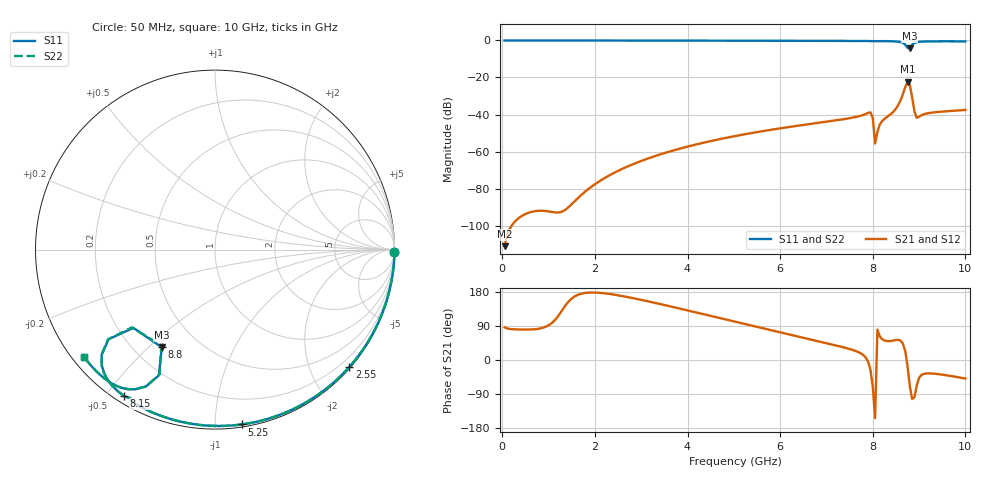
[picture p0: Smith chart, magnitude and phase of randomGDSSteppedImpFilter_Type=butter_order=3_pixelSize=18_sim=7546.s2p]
! freq	dB(S11)	phase(S11)	dB(S12)	phase(S12)
!  dB(S21)	phase(S21)	dB(S22)	phase(S22)
!S-par simulation data
#  GHz  S  DB  R 50
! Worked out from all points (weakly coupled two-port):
!   200 points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, 50 MHz to 10 GHz, reference 50 ohm
!   highest |S21| = -22.34 dB at 8.75 GHz (marker M1); lowest = -111.1 dB at 50 MHz (marker M2)
!   lowest |S11| = -4.2 dB at 8.8 GHz (marker M3), VSWR 4.26, Z = 15.6 - j27.5 ohm
!   |S11| at or under -10 dB: nowhere
!   |S22| runs from -4.3 to 0.0 dB; largest |S21 - S12| = 0
!   S11 on the Smith chart (normalised r, x): 50 MHz: open; 2.55 GHz: 0.02, -2.66; 5.25 GHz: 0.02, -1.17; 8.15 GHz: 0.03, -0.56; 8.8 GHz: 0.31, -0.55; 10 GHz: 0.03, -0.36
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0.05  -0.00 -0.8  -111.08 86.2  -111.08 86.2  -0.00 -0.8
1.75  -0.04 -28.5  -82.46 176.1  -82.46 176.1  -0.04 -28.5
1.9  -0.04 -30.9  -79.43 178.0  -79.43 178.0  -0.04 -30.9
2.55  -0.05 -41.2  -69.80 169.6  -69.80 169.6  -0.05 -41.2
3.4  -0.07 -54.2  -61.60 147.9  -61.60 147.9  -0.07 -54.3
5.05  -0.12 -78.4  -51.52 100.3  -51.52 100.3  -0.12 -78.5
5.25  -0.13 -81.3  -50.59 94.5  -50.59 94.5  -0.13 -81.3
6.7  -0.20 -101.3  -44.91 52.8  -44.91 52.8  -0.20 -101.3
7.95  -0.36 -119.2  -38.83 -26.1  -38.83 -26.1  -0.36 -119.3
8  -0.42 -119.7  -41.69 -70.1  -41.69 -70.1  -0.42 -119.8
8.05  -0.40 -120.1  -55.65 -153.5  -55.65 -153.5  -0.40 -120.1
8.1  -0.37 -120.9  -49.42 80.1  -49.42 80.1  -0.37 -120.9
8.15  -0.36 -121.8  -45.42 62.4  -45.42 62.4  -0.36 -121.9
8.35  -0.41 -125.8  -40.54 49.7  -40.54 49.7  -0.41 -125.9
8.55  -0.67 -131.8  -34.88 53.1  -34.88 53.1  -0.67 -131.8
8.7  -2.22 -139.9  -25.23 24.0  -25.23 24.0  -2.17 -140.0
8.75  -4.02 -136.2  -22.34 -15.6  -22.34 -15.6  -3.95 -136.9
8.8  -4.15 -118.6  -23.98 -69.1  -23.98 -69.1  -4.26 -119.2
8.9  -1.35 -116.8  -38.33 -98.5  -38.33 -98.5  -1.39 -116.7
8.95  -0.95 -119.7  -41.77 -67.0  -41.77 -67.0  -0.96 -119.6
9.2  -0.52 -127.9  -39.23 -35.4  -39.23 -35.4  -0.52 -127.9
10  -0.51 -140.8  -37.53 -48.9  -37.53 -48.9  -0.51 -140.8
